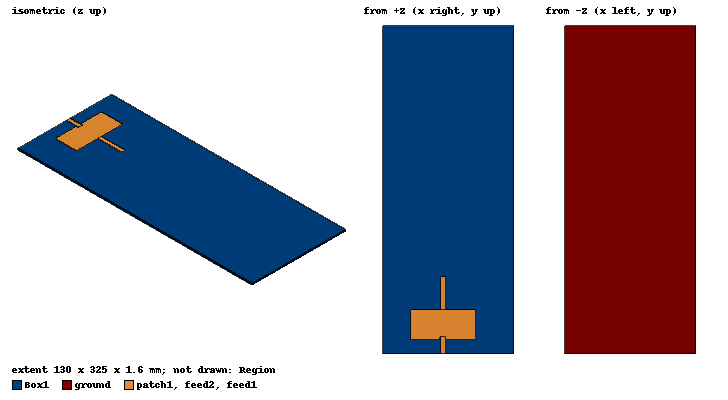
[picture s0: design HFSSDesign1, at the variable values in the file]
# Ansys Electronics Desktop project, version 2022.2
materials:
  vacuum: permittivity=1
  FR4_epoxy: permittivity=4.4 dielectric_loss_tangent=0.02
  air: permittivity=1.0006 permeability=1.0000004

design HFSSDesign1 (HFSS, DrivenModal, model units mm)
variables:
  L = 100mm
  B = 70mm
  l1 = 64.17mm
  l2 = 38mm
  w1 = 29.4mm
  lf2 = (lambda-w1-w2)*0.5
  w2 = 29.4mm
  lf3 = (lambda-w2-w3)*0.5
  l3 = 38mm
  w3 = 29.4mm
  lf4 = (lambda-w3-w4)*0.5
  l4 = 38mm
  w4 = 29.4mm
  lf1 = 17.1mm
  h = 1.6mm
  lambda = 125mm
  sl = 130mm
  sb = 325mm
  wf = 5mm
  c1 = 6mm
  c2 = 6mm
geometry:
  patch1 = rectangle(corner=(-l1/2, -w1/2, 0mm), x_size=l1, y_size=w1)
  coordinate_system RelativeCS1 = origin=(0mm, w1/2, 0mm) x=(1mm, 0mm, 0mm) y=(0mm, 1mm, 0mm)
  feed2 = rectangle(corner=(-wf/2, 0mm, 0mm), x_size=wf, y_size=lf2) in RelativeCS1
  coordinate_system RelativeCS2 = origin=(0mm, lf2, 0mm) x=(1mm, 0mm, 0mm) y=(0mm, 1mm, 0mm) in RelativeCS1
  coordinate_system RelativeCS3 = origin=(0mm, w2, 0mm) x=(1mm, 0mm, 0mm) y=(0mm, 1mm, 0mm) in RelativeCS2
  coordinate_system RelativeCS4 = origin=(0mm, lf3, 0mm) x=(1mm, 0mm, 0mm) y=(0mm, 1mm, 0mm) in RelativeCS3
  coordinate_system RelativeCS5 = origin=(0mm, w3, 0mm) x=(1mm, 0mm, 0mm) y=(0mm, 1mm, 0mm) in RelativeCS4
  coordinate_system RelativeCS6 = origin=(0mm, lf4, 0mm) x=(1mm, 0mm, 0mm) y=(0mm, 1mm, 0mm) in RelativeCS5
  coordinate_system RelativeCS9 = origin=(0mm, -w1/2, 0mm) x=(1mm, 0mm, 0mm) y=(0mm, 1mm, 0mm)
  coordinate_system RelativeCS7 = origin=(0mm, c2/2, 0mm) x=(1mm, 0mm, 0mm) y=(0mm, 1mm, 0mm) in RelativeCS9
  feed1 = rectangle(corner=(-wf/2, 0mm, 0mm), x_size=wf, y_size=-lf1) in RelativeCS7
  coordinate_system RelativeCS8 = origin=(0mm, -lf1, 0mm) x=(1mm, 0mm, 0mm) y=(0mm, 1mm, 0mm) in RelativeCS7
  Box1 [FR4_epoxy] = box(corner=(-60mm, 0mm, 0mm), size=(sl, sb, -h)) in RelativeCS8
  ground [oriented by RelativeCS8] = rectangle(corner=(70mm, 0mm, -h), x_size=-sl, y_size=sb) in RelativeCS8
  source = rectangle(corner=(-wf/2, 0mm, 0mm), z_size=-h, x_size=wf) in RelativeCS8
  Region [air] = region(transverse_percentage_offset=lambda/4 on all sides) in RelativeCS8
  Rectangle1 = rectangle(corner=(-wf/2, 0mm, 0mm), z_size=-h, x_size=wf) in RelativeCS2
  Rectangle2 = rectangle(corner=(-c1/2, -c2/2, 0mm), x_size=c1, y_size=c2) in RelativeCS9
  patch1.subtract(Rectangle2)
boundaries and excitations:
  PerfE1: Perfect E Objects=[feed1, ground]
  Rad1: Radiation Objects=Region
  PerfE2: Perfect E Objects=[patch1, feed2]
  1: Lumped Port Objects=source Modes{Mode1{IntLine{(0, -28.8, -1.6) -> (0, -28.8, 0)} CharImp=Zpi RenormImp=50ohm}} Impedance=50ohm
  2: Lumped Port Objects=Rectangle1 Modes{Mode1{IntLine{(0, 47.8, -1.6) -> (0, 47.8, 0)} CharImp=Zpi RenormImp=50ohm}} Impedance=50ohm
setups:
  Setup1: HfssDriven Frequency=2.4GHz MaxDeltaS=0.02 MaximumPasses=30 MinimumPasses=1 MinimumConvergedPasses=1 PercentRefinement=30 BasisOrder=1 PortAccuracy=2 DrivenSolverType="Direct Solver"
    sweep Sweep: 1GHz to 3.6GHz, 401 points; Type=Interpolating InterpTolerance=0.5 InterpMaxSolns=250 InterpUsePortImped=false PassivityErrorTolerance=0.0001
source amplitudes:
  1:1: 1W 0deg
  2:1: 0W 0deg
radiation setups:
  Infinite Sphere1: Infinite Sphere Theta=0deg..180deg step 2deg Phi=-180deg..180deg step 2deg
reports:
  S Parameter Plot 1: dB(S(1,1)) vs Freq on Setup1 : Sweep
  Gain Plot 1: dB(GainTotal) vs Phi, Theta on Setup1 : LastAdaptive, Infinite Sphere1 [Freq=2.4GHz]
  S Parameter Plot 2: ang_deg_val(S(2,1)) vs Freq on Setup1 : Sweep; markers m1 at 2.3975GHz, m2 at 2.3975GHz
